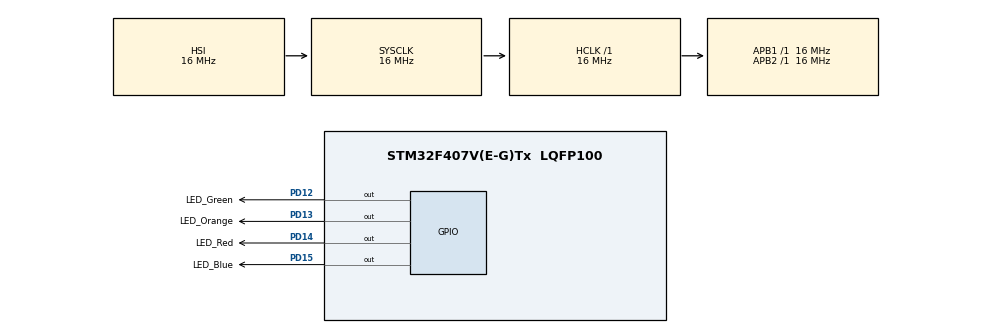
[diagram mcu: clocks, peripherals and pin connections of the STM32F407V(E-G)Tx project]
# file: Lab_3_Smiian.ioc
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Mcu.Family=STM32F4
Mcu.Name=STM32F407V(E-G)Tx
Mcu.Package=LQFP100
NVIC.PriorityGroup=NVIC_PRIORITYGROUP_4
PA13.Mode=Serial_Wire
PA13.Signal=SYS_JTMS-SWDIO
PA14.Mode=Serial_Wire
PA14.Signal=SYS_JTCK-SWCLK
PD12.GPIO_Label=LED_Green
PD12.Signal=GPIO_Output
PD13.GPIO_Label=LED_Orange
PD13.Signal=GPIO_Output
PD14.GPIO_Label=LED_Red
PD14.Signal=GPIO_Output
PD15.GPIO_Label=LED_Blue
PD15.Signal=GPIO_Output
ProjectManager.HeapSize=0x200
ProjectManager.StackSize=0x400
ProjectManager.TargetToolchain=MDK-ARM V5.32
RCC.AHBFreq_Value=16000000
RCC.APB1Freq_Value=16000000
RCC.APB2Freq_Value=16000000
RCC.CortexFreq_Value=16000000
RCC.HSE_VALUE=25000000
RCC.HSI_VALUE=16000000
RCC.LSE_VALUE=32768
RCC.SYSCLKFreq_VALUE=16000000
RCC.VCOOutputFreq_Value=192000000
board=custom

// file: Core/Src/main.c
/* USER CODE BEGIN Header */
/**
  ******************************************************************************
  * @file           : main.c
  * @brief          : Main program body
  ******************************************************************************
  * @attention
  *
  * Copyright (c) 2024 STMicroelectronics.
  * All rights reserved.
  *
  * This software is licensed under terms that can be found in the LICENSE file
  * in the root directory of this software component.
  * If no LICENSE file comes with this software, it is provided AS-IS.
  *
  ******************************************************************************
  */
/* USER CODE END Header */
#include "main.h"
#include "led.h"

/* USER CODE BEGIN PD */
typedef enum
{
    REVERSE = 0,
    FORWARD = 1
}direction_e_t;
/* USER CODE END PD */

/* USER CODE BEGIN PV */
led_color_e_t current_led = RED;
/* USER CODE END PV */

void SystemClock_Config(void);

/* USER CODE BEGIN 0 */
void Main_Init(void)
{
    led_init();
    led_set(ALL, OFF);
}

void Circle (direction_e_t direction, led_color_e_t start_point)
{
    led_set (current_led, OFF);
    switch (direction)
    {
        case FORWARD:
        {
            current_led++;
            if (current_led == ALL)
            {
                current_led = RED;
            }
            break;
        }
        case REVERSE:
        {
            if (current_led == RED)
            {
                current_led = ALL;
            }
            current_led--;
            break;
        }
        default:
           break;
    }
    led_set (current_led, ON);
}
/* USER CODE END 0 */

int main(void)
{

  /* MCU Configuration--------------------------------------------------------*/

  /* Reset of all peripherals, Initializes the Flash interface and the Systick. */
  HAL_Init();

  /* Configure the system clock */
  SystemClock_Config();

  /* Initialize all configured peripherals */

  /* USER CODE BEGIN 2 */
  Main_Init();
  /* USER CODE END 2 */

  /* Infinite loop */
  /* USER CODE BEGIN WHILE */
  while (1)
  {
    for(uint8_t i=0; i<=8; i++)
    {
        Circle (FORWARD, current_led);
        HAL_Delay(1000);
    }
    for(uint8_t i=0; i<=8; i++)
    {
        Circle (REVERSE, current_led);
        HAL_Delay(300);
    }
    /* USER CODE END WHILE */

  }
}

void SystemClock_Config(void)
{
  RCC_OscInitTypeDef RCC_OscInitStruct = {0};
  RCC_ClkInitTypeDef RCC_ClkInitStruct = {0};

  /** Configure the main internal regulator output voltage
  */
  __HAL_RCC_PWR_CLK_ENABLE();
  __HAL_PWR_VOLTAGESCALING_CONFIG(PWR_REGULATOR_VOLTAGE_SCALE1);

  /** Initializes the RCC Oscillators according to the specified parameters
  * in the RCC_OscInitTypeDef structure.
  */
  RCC_OscInitStruct.OscillatorType = RCC_OSCILLATORTYPE_HSI;
  RCC_OscInitStruct.HSIState = RCC_HSI_ON;
  RCC_OscInitStruct.HSICalibrationValue = RCC_HSICALIBRATION_DEFAULT;
  RCC_OscInitStruct.PLL.PLLState = RCC_PLL_NONE;
  if (HAL_RCC_OscConfig(&RCC_OscInitStruct) != HAL_OK)
  {
    Error_Handler();
  }

  /** Initializes the CPU, AHB and APB buses clocks
  */
  RCC_ClkInitStruct.ClockType = RCC_CLOCKTYPE_HCLK|RCC_CLOCKTYPE_SYSCLK
                              |RCC_CLOCKTYPE_PCLK1|RCC_CLOCKTYPE_PCLK2;
  RCC_ClkInitStruct.SYSCLKSource = RCC_SYSCLKSOURCE_HSI;
  RCC_ClkInitStruct.AHBCLKDivider = RCC_SYSCLK_DIV1;
  RCC_ClkInitStruct.APB1CLKDivider = RCC_HCLK_DIV1;
  RCC_ClkInitStruct.APB2CLKDivider = RCC_HCLK_DIV1;

  if (HAL_RCC_ClockConfig(&RCC_ClkInitStruct, FLASH_LATENCY_0) != HAL_OK)
  {
    Error_Handler();
  }
}

void Error_Handler(void)
{
  __disable_irq();
  while (1)
  {
  }
}
